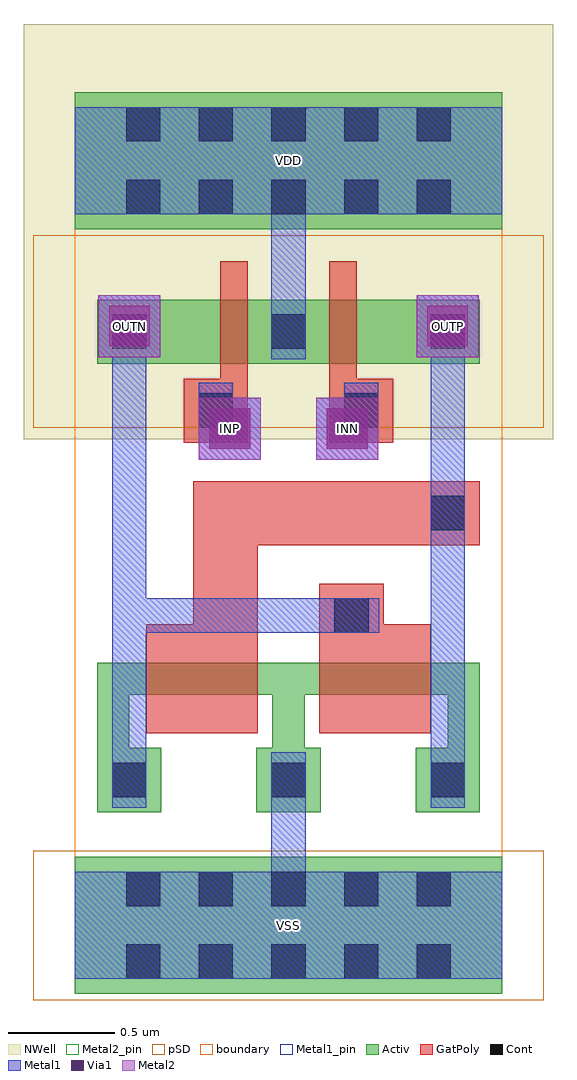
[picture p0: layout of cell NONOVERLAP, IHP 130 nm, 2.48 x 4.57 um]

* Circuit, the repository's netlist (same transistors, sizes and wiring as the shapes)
* Extracted by KLayout with SG13G2 LVS runset on : 26/08/2025 22:26

.SUBCKT NONOVERLAP
M$1 \$6 \$3 \$2 \$2 sg13_lv_nmos L=0.52u W=0.15u AS=0.162p AD=0.0855p PS=2.16u
+ PD=1.14u
M$2 \$2 \$6 \$3 \$2 sg13_lv_nmos L=0.52u W=0.15u AS=0.0855p AD=0.162p PS=1.14u
+ PD=2.16u
M$3 \$6 \$5 \$1 \$1 sg13_lv_pmos L=0.13u W=0.3u AS=0.1725p AD=0.0379986666667p
+ PS=1.75u PD=0.456u
M$4 \$3 \$4 \$1 \$1 sg13_lv_pmos L=0.13u W=0.3u AS=0.1725p AD=0.0379986666667p
+ PS=1.75u PD=0.456u
.ENDS NONOVERLAP

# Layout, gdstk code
from math import pi, radians
import gdstk
lib = gdstk.Library(unit=1e-6, precision=1e-09)
def R(c, l, rs):  # rectangles x0, y0, x1, y1
    for r in rs: c.add(gdstk.rectangle(r[:2], r[2:], *l))
def A(c, l, x, y, w, h, nx, ny, dx, dy):  # array of equal rectangles
    R(c, l, [(x+i*dx, y+j*dy, x+i*dx+w, y+j*dy+h) for i in range(nx) for j in range(ny)])
Activ = (1, 0)
GatPoly = (5, 0)
Cont = (6, 0)
Metal1 = (8, 0)
Metal1_pin = (8, 2)
Metal2 = (10, 0)
Metal2_pin = (10, 2)
pSD = (14, 0)
Via1 = (19, 0)
NWell = (31, 0)
boundary = (189, 4)

feol_contacts_3 = lib.new_cell('FEOL$contacts$3')
A(feol_contacts_3, Cont, 0.2, 0, 0.16, 0.16, 5, 2, 0.34, 0.34)
R(feol_contacts_3, Metal1, [(0,0,1.92,0.5)])

feol_contacts_1 = lib.new_cell('FEOL$contacts$1')
R(feol_contacts_1, Cont, [(0.05,0,0.21,0.16)])
R(feol_contacts_1, Metal1, [(0,0,0.26,0.16)])

via_stack_1 = lib.new_cell('via_stack$1')
R(via_stack_1, Metal1, [(-0.145,-0.145,0.145,0.145)])
R(via_stack_1, Metal2, [(-0.145,-0.145,0.145,0.145)])
R(via_stack_1, Via1, [(-0.095,-0.095,0.095,0.095)])

nonoverlap = lib.new_cell('NONOVERLAP')
A(nonoverlap, Activ, -0.895, -2.25, 0.3, 0.3, 3, 1, 0.745, 0)
R(nonoverlap, Activ, [(-1,-3.1,1,-2.46), (-0.895,-1.7,0.895,-1.55), (-0.895,-0.15,0.895,0.15), (-1,0.48,1,1.12)])
R(nonoverlap, GatPoly, [(-0.665,-1.88,-0.145,-1.37), (0.145,-1.88,0.665,-1.37), (0.145,-1.48,0.445,-1.18), (0.595,-1,0.895,-0.7), (-0.49,-0.52,-0.19,-0.22), (0.19,-0.52,0.49,-0.22), (-0.32,-0.33,-0.19,0.33), (0.19,-0.33,0.32,0.33)])
R(nonoverlap, Metal1, [(-1,-3.03,1,-2.53), (-1,0.55,1,1.05), (-1,0.55,1,1.05)])
R(nonoverlap, Metal1_pin, [(-1,-3.03,1,-2.53), (-1,0.55,1,1.05)])
R(nonoverlap, Metal2_pin, [(-0.42,-0.6,-0.13,-0.31), (0.13,-0.6,0.42,-0.31), (-0.89,-0.12,-0.6,0.17), (0.6,-0.12,0.89,0.17)])
R(nonoverlap, pSD, [(-1.195,-3.13,1.195,-2.43), (-1.195,-0.45,1.195,0.45)])
R(nonoverlap, NWell, [(-1.24,-0.505,1.24,1.44)])
R(nonoverlap, boundary, [(-1,-3.1,1,1.12)])
nonoverlap.add(gdstk.FlexPath([(0.38,-1.33),(-0.745,-1.33)], 0.16, ends="flush", simple_path=True, layer=8, datatype=0))  # Metal1
nonoverlap.add(gdstk.FlexPath([(-0.745,-2.02),(-0.745,-0.08)], 0.16, ends="flush", simple_path=True, layer=8, datatype=0))  # Metal1
nonoverlap.add(gdstk.FlexPath([(0.745,-2.02),(0.745,-0.08)], 0.16, ends="flush", simple_path=True, layer=8, datatype=0))  # Metal1
nonoverlap.add(gdstk.FlexPath([(0,-2.02),(0,-2.69)], 0.16, ends="flush", simple_path=True, layer=8, datatype=0))  # Metal1
nonoverlap.add(gdstk.FlexPath([(0,0.71),(0,-0.08)], 0.16, ends="flush", simple_path=True, layer=8, datatype=0))  # Metal1
nonoverlap.add(gdstk.FlexPath([(0,-1.63),(0,-2.18)], 0.15, ends="flush", simple_path=True, layer=1, datatype=0))  # Activ
nonoverlap.add(gdstk.FlexPath([(0.82,-1.635),(0.82,-2.18)], 0.15, ends="flush", simple_path=True, layer=1, datatype=0))  # Activ
nonoverlap.add(gdstk.FlexPath([(-0.82,-1.63),(-0.82,-2.18)], 0.15, ends="flush", simple_path=True, layer=1, datatype=0))  # Activ
nonoverlap.add(gdstk.FlexPath([(-0.295,-1.475),(-0.295,-0.85),(0.745,-0.85)], 0.3, ends="flush", simple_path=True, layer=5, datatype=0))  # GatPoly
nonoverlap.add(gdstk.Reference(feol_contacts_3, (-0.96,0.55)))
nonoverlap.add(gdstk.Reference(feol_contacts_1, (0.825,-0.13), rotation=pi/2))
nonoverlap.add(gdstk.Reference(feol_contacts_1, (0.08,-0.13), rotation=pi/2))
nonoverlap.add(gdstk.Reference(feol_contacts_1, (-0.665,-0.13), rotation=pi/2))
nonoverlap.add(gdstk.Reference(feol_contacts_1, (-0.26,-0.5), rotation=pi/2))
nonoverlap.add(gdstk.Reference(feol_contacts_1, (0.42,-0.5), rotation=pi/2))
nonoverlap.add(gdstk.Reference(feol_contacts_1, (-0.665,-2.23), rotation=pi/2))
nonoverlap.add(gdstk.Reference(feol_contacts_1, (0.165,-1.41)))
nonoverlap.add(gdstk.Reference(feol_contacts_1, (0.825,-2.23), rotation=pi/2))
nonoverlap.add(gdstk.Reference(feol_contacts_1, (0.08,-2.23), rotation=pi/2))
nonoverlap.add(gdstk.Reference(feol_contacts_3, (-0.96,-3.03)))
nonoverlap.add(gdstk.Reference(via_stack_1, (0.275,-0.455)))
nonoverlap.add(gdstk.Reference(via_stack_1, (-0.275,-0.455)))
nonoverlap.add(gdstk.Reference(via_stack_1, (0.745,0.025)))
nonoverlap.add(gdstk.Reference(via_stack_1, (-0.745,0.025)))
nonoverlap.add(gdstk.Reference(feol_contacts_1, (0.825,-0.98), rotation=pi/2))
nonoverlap.add(gdstk.Label('VSS', (0,-2.78), layer=8, texttype=2))
nonoverlap.add(gdstk.Label('VDD', (0,0.8), layer=8, texttype=2))
nonoverlap.add(gdstk.Label('OUTN', (-0.745,0.025), layer=10, texttype=2))
nonoverlap.add(gdstk.Label('INP', (-0.275,-0.455), layer=10, texttype=2))
nonoverlap.add(gdstk.Label('OUTP', (0.745,0.025), layer=10, texttype=2))
nonoverlap.add(gdstk.Label('INN', (0.275,-0.455), layer=10, texttype=2))

lib.write_gds('NONOVERLAP.gds')
